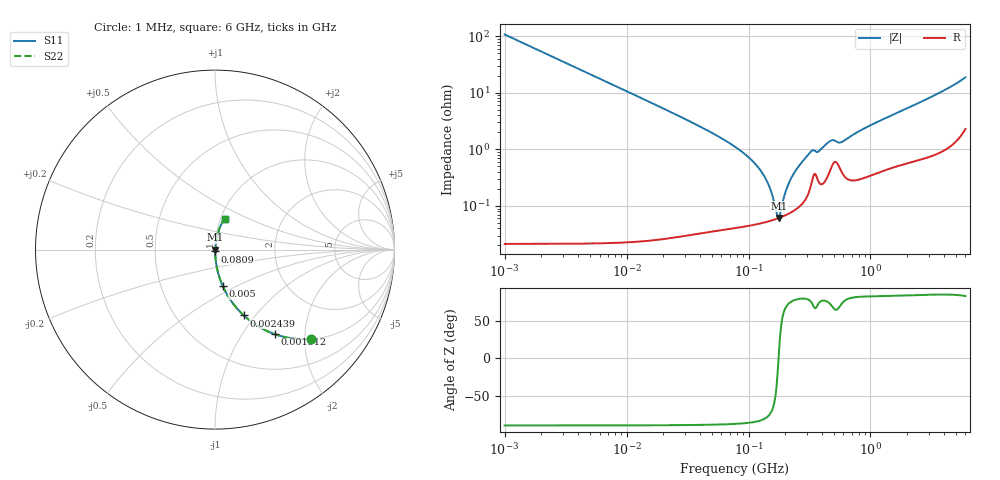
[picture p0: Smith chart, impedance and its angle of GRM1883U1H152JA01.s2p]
!Murata Part Number: GRM1883U1H152JA01
!These Parameters are Measured in Series Mode Connection
!Data Generated on Mar 30, 2021
!  o--ll--o
!Port1  Port2
!  o------o
!Operation Temp=25[degC], DC Bias Voltage=0[V]
!Freq. Start=1000[kHz] Stop=6[GHz] 401[Steps]
# Hz S RI R 50
!Freq.(Hz) S11(Real) S11(Imag) S21(Real) S21(Imag) S12(Real) S12(Imag) S22(Real) S22(Imag)
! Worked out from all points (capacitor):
!   401 points, 1 MHz to 6 GHz, reference 50 ohm
!   read as one part in series: C = 1.49 nF near 1.044 MHz
!   lowest |Z| = 61.4 mohm at 177 MHz (marker M1)
!   series resonance near 176.2 MHz, so ESL is about 550 pH
!   S11 on the Smith chart (normalised r, x): 1 MHz: 1.00, -2.14; 1.512 MHz: 1.00, -1.41; 2.439 MHz: 1.00, -0.88; 5 MHz: 1.00, -0.43; 80.9 MHz: 1.00, -0.02; 6 GHz: 1.05, +0.37
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1000000  0.5327 -0.4988  0.4673 0.4988  0.4673 0.4988  0.5327 -0.4988
1511688  0.3328 -0.4711  0.6672 0.4711  0.6672 0.4711  0.3328 -0.4711
2439274  0.1608 -0.3671  0.8392 0.3671  0.8392 0.3671  0.1608 -0.3671
4293785  0.0583 -0.2339  0.9417 0.2339  0.9417 0.2339  0.0583 -0.2339
4999862  0.0437 -0.204  0.9563 0.204  0.9563 0.204  0.0437 -0.204
1.843659e7  0.00351 -0.057  0.9965 0.057  0.9965 0.057  0.00351 -0.057
7.745967e7  0.000528 -0.0111  0.9995 0.0111  0.9995 0.0111  0.000528 -0.0111
8.090333e7  0.000519 -0.0104  0.9995 0.0104  0.9995 0.0104  0.000519 -0.0104
1.073387e8  0.000496 -0.00625  0.9995 0.00625  0.9995 0.00625  0.000496 -0.00625
1.305463e8  0.000514 -0.00369  0.9995 0.00369  0.9995 0.00369  0.000514 -0.00369
1.487431e8  0.000544 -0.00207  0.9995 0.00207  0.9995 0.00207  0.000544 -0.00207
1.694764e8  0.000591 -0.000478  0.9994 0.000478  0.9994 0.000478  0.000591 -0.000478
1.770109e8  0.000611 5.34e-05  0.9994 -5.34e-05  0.9994 -5.34e-05  0.000611 5.34e-05
2.061188e8  0.000706 0.00194  0.9993 -0.00194  0.9993 -0.00194  0.000706 0.00194
2.248532e8  0.000784 0.00305  0.9992 -0.00305  0.9992 -0.00305  0.000784 0.00305
2.675853e8  0.00105 0.00547  0.999 -0.00547  0.999 -0.00547  0.00105 0.00547
3.325952e8  0.00289 0.00906  0.9971 -0.00906  0.9971 -0.00906  0.00289 0.00906
3.789555e8  0.00265 0.00894  0.9973 -0.00894  0.9973 -0.00894  0.00265 0.00894
4.813793e8  0.00513 0.0134  0.9949 -0.0134  0.9949 -0.0134  0.00513 0.0134
5.854581e8  0.00399 0.0129  0.996 -0.0129  0.996 -0.0129  0.00399 0.0129
1.428092e9  0.00593 0.0375  0.9941 -0.0375  0.9941 -0.0375  0.00593 0.0375
6e9  0.0535 0.1716  0.9465 -0.1716  0.9465 -0.1716  0.0535 0.1716
